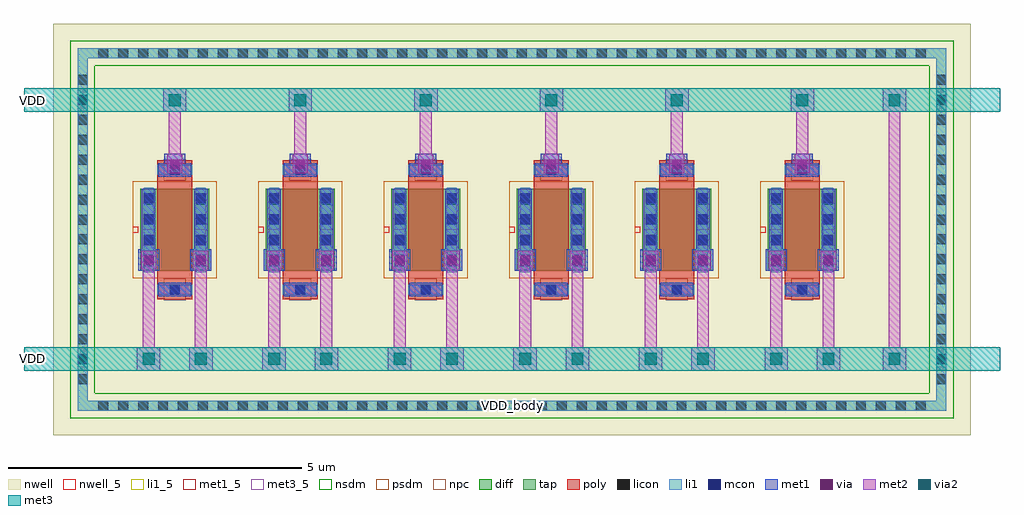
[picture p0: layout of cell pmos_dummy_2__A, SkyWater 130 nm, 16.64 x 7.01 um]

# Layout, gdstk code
import gdstk
lib = gdstk.Library(unit=1e-6, precision=1e-09)
def R(c, l, rs):  # rectangles x0, y0, x1, y1
    for r in rs: c.add(gdstk.rectangle(r[:2], r[2:], *l))
def A(c, l, x, y, w, h, nx, ny, dx, dy):  # array of equal rectangles
    R(c, l, [(x+i*dx, y+j*dy, x+i*dx+w, y+j*dy+h) for i in range(nx) for j in range(ny)])
nwell_5 = (64, 5)
nwell = (64, 20)
diff = (65, 20)
tap = (65, 44)
poly = (66, 20)
licon = (66, 44)
li1_5 = (67, 5)
li1 = (67, 20)
mcon = (67, 44)
met1_5 = (68, 5)
met1 = (68, 20)
via = (68, 44)
met2 = (69, 20)
via2 = (69, 44)
met3_5 = (70, 5)
met3 = (70, 20)
nsdm = (93, 44)
psdm = (94, 20)
npc = (95, 20)

sky130_fd_pr__pfet_01v8_ = lib.new_cell('sky130_fd_pr__pfet_01v8_RGDEC8')
R(sky130_fd_pr__pfet_01v8_, nwell, [(-0.77,-1.2,0.77,1.2)])
R(sky130_fd_pr__pfet_01v8_, diff, [(-0.59,-0.7,0.59,0.7)])
R(sky130_fd_pr__pfet_01v8_, poly, [(-0.3,-1.185,0.3,1.185)])
A(sky130_fd_pr__pfet_01v8_, licon, -0.53, -0.595, 0.17, 0.17, 1, 4, 0, 0.34)
A(sky130_fd_pr__pfet_01v8_, licon, 0.36, -0.595, 0.17, 0.17, 1, 4, 0, 0.34)
R(sky130_fd_pr__pfet_01v8_, licon, [(-0.085,-1.105,0.085,-0.935), (-0.085,0.935,0.085,1.105)])
R(sky130_fd_pr__pfet_01v8_, li1, [(-0.3,-1.105,0.3,-0.935), (-0.53,-0.72,-0.36,0.72), (0.36,-0.72,0.53,0.72), (-0.3,0.935,0.3,1.105)])
A(sky130_fd_pr__pfet_01v8_, mcon, -0.53, -0.625, 0.17, 0.17, 1, 4, 0, 0.36)
A(sky130_fd_pr__pfet_01v8_, mcon, 0.36, -0.625, 0.17, 0.17, 1, 4, 0, 0.36)
R(sky130_fd_pr__pfet_01v8_, mcon, [(-0.085,-1.105,0.085,-0.935), (-0.085,0.935,0.085,1.105)])
R(sky130_fd_pr__pfet_01v8_, met1, [(-0.28,-1.135,0.28,-0.905), (-0.56,-0.7,-0.33,0.7), (0.33,-0.7,0.56,0.7), (-0.28,0.905,0.28,1.135)])
R(sky130_fd_pr__pfet_01v8_, psdm, [(-0.715,-0.825,0.715,0.825)])
R(sky130_fd_pr__pfet_01v8_, npc, [(-0.185,-1.205,0.185,-0.835), (-0.185,0.835,0.185,1.205)])
sky130_fd_pr__pfet_01v8_.add(gdstk.Label('D', (-0.445,0), layer=67, texttype=5))
sky130_fd_pr__pfet_01v8_.add(gdstk.Label('S', (0.445,0), layer=67, texttype=5))
sky130_fd_pr__pfet_01v8_.add(gdstk.Label('G', (0,1.02), layer=67, texttype=5))

pfet_01v8_w1p4_l0p6_m6__ = lib.new_cell('pfet_01v8_W1p4_L0p6_m6__nf1_gboth_sdfull_ng')
R(pfet_01v8_w1p4_l0p6_m6__, nwell_5, [(0.05,1.15,0.15,1.25)])
R(pfet_01v8_w1p4_l0p6_m6__, nwell, [(0.05,1.15,0.15,1.25)])
R(pfet_01v8_w1p4_l0p6_m6__, met1_5, [(0.21,1.2,0.44,1.4), (1.1,1.2,1.33,1.4), (0.49,2.105,1.05,2.335)])
R(pfet_01v8_w1p4_l0p6_m6__, met1, [(0.21,1.2,0.44,1.4), (1.1,1.2,1.33,1.4), (0.49,2.105,1.05,2.335)])
pfet_01v8_w1p4_l0p6_m6__.add(gdstk.Reference(sky130_fd_pr__pfet_01v8_, (0.77,1.2)))
pfet_01v8_w1p4_l0p6_m6__.add(gdstk.Label('D', (0.325,1.3), layer=68, texttype=5))
pfet_01v8_w1p4_l0p6_m6__.add(gdstk.Label('S', (1.215,1.3), layer=68, texttype=5))
pfet_01v8_w1p4_l0p6_m6__.add(gdstk.Label('G', (0.77,2.22), layer=68, texttype=5))
pfet_01v8_w1p4_l0p6_m6__.add(gdstk.Label('B', (0.1,1.2), layer=64, texttype=5))

pmos_dummy_2__a = lib.new_cell('pmos_dummy_2__A')
R(pmos_dummy_2__a, nwell, [(-1.3,-2.3,14.34,4.71)])
R(pmos_dummy_2__a, tap, [(-0.885,-1.885,13.925,-1.715), (-0.885,-1.715,-0.715,4.125), (13.755,-1.715,13.925,4.125), (-0.885,4.125,13.925,4.295)])
A(pmos_dummy_2__a, licon, -0.535, -1.885, 0.17, 0.17, 42, 2, 0.34, 6.01)
A(pmos_dummy_2__a, licon, -0.885, -1.43, 0.17, 0.17, 1, 16, 0, 0.34)
A(pmos_dummy_2__a, licon, 13.755, -1.43, 0.17, 0.17, 1, 16, 0, 0.34)
R(pmos_dummy_2__a, li1_5, [(6.47,-1.85,6.57,-1.75)])
R(pmos_dummy_2__a, li1, [(-0.885,-1.885,13.925,-1.715), (-0.885,-1.715,-0.715,4.125), (13.755,-1.715,13.925,4.125), (-0.885,4.125,13.925,4.295)])
A(pmos_dummy_2__a, met1, 0.59, 2.14, 0.36, 0.36, 6, 1, 2.14, 0)
R(pmos_dummy_2__a, met1, [(0.145,0.505,0.505,0.865), (1.035,0.505,1.395,0.865), (2.285,0.505,2.645,0.865), (3.175,0.505,3.535,0.865), (4.425,0.505,4.785,0.865), (5.315,0.505,5.675,0.865), (6.565,0.505,6.925,0.865), (7.455,0.505,7.815,0.865), (8.705,0.505,9.065,0.865), (9.595,0.505,9.955,0.865), (10.845,0.505,11.205,0.865), (11.735,0.505,12.095,0.865)])
A(pmos_dummy_2__a, via, 0.695, 2.245, 0.15, 0.15, 6, 1, 2.14, 0)
R(pmos_dummy_2__a, via, [(0.25,0.61,0.4,0.76), (1.14,0.61,1.29,0.76), (2.39,0.61,2.54,0.76), (3.28,0.61,3.43,0.76), (4.53,0.61,4.68,0.76), (5.42,0.61,5.57,0.76), (6.67,0.61,6.82,0.76), (7.56,0.61,7.71,0.76), (8.81,0.61,8.96,0.76), (9.7,0.61,9.85,0.76), (10.95,0.61,11.1,0.76), (11.84,0.61,11.99,0.76)])
A(pmos_dummy_2__a, met2, 0.64, 2.16, 0.26, 0.32, 6, 1, 2.14, 0)
A(pmos_dummy_2__a, met2, 0.67, 2.48, 0.2, 0.73, 6, 1, 2.14, 0)
A(pmos_dummy_2__a, met2, 0.57, 3.21, 0.4, 0.4, 6, 1, 2.14, 0)
R(pmos_dummy_2__a, met2, [(0.125,-1.2,0.525,-0.8), (1.015,-1.2,1.415,-0.8), (2.265,-1.2,2.665,-0.8), (3.155,-1.2,3.555,-0.8), (4.405,-1.2,4.805,-0.8), (5.295,-1.2,5.695,-0.8), (6.545,-1.2,6.945,-0.8), (7.435,-1.2,7.835,-0.8), (8.685,-1.2,9.085,-0.8), (9.575,-1.2,9.975,-0.8), (10.825,-1.2,11.225,-0.8), (11.715,-1.2,12.115,-0.8), (12.84,-1.2,13.24,-0.8), (0.225,-0.8,0.425,0.525), (1.115,-0.8,1.315,0.525), (2.365,-0.8,2.565,0.525), (3.255,-0.8,3.455,0.525), (4.505,-0.8,4.705,0.525), (5.395,-0.8,5.595,0.525), (6.645,-0.8,6.845,0.525), (7.535,-0.8,7.735,0.525), (8.785,-0.8,8.985,0.525), (9.675,-0.8,9.875,0.525), (10.925,-0.8,11.125,0.525), (11.815,-0.8,12.015,0.525), (12.94,-0.8,13.14,3.21), (0.195,0.525,0.455,0.845), (1.085,0.525,1.345,0.845), (2.335,0.525,2.595,0.845), (3.225,0.525,3.485,0.845), (4.475,0.525,4.735,0.845), (5.365,0.525,5.625,0.845), (6.615,0.525,6.875,0.845), (7.505,0.525,7.765,0.845), (8.755,0.525,9.015,0.845), (9.645,0.525,9.905,0.845), (10.895,0.525,11.155,0.845), (11.785,0.525,12.045,0.845), (12.84,3.21,13.24,3.61)])
A(pmos_dummy_2__a, via2, 0.67, 3.31, 0.2, 0.2, 6, 1, 2.14, 0)
R(pmos_dummy_2__a, via2, [(0.225,-1.1,0.425,-0.9), (1.115,-1.1,1.315,-0.9), (2.365,-1.1,2.565,-0.9), (3.255,-1.1,3.455,-0.9), (4.505,-1.1,4.705,-0.9), (5.395,-1.1,5.595,-0.9), (6.645,-1.1,6.845,-0.9), (7.535,-1.1,7.735,-0.9), (8.785,-1.1,8.985,-0.9), (9.675,-1.1,9.875,-0.9), (10.925,-1.1,11.125,-0.9), (11.815,-1.1,12.015,-0.9), (12.94,-1.1,13.14,-0.9), (12.94,3.31,13.14,3.51)])
R(pmos_dummy_2__a, met3_5, [(-1.7,-1.05,-1.6,-0.95), (-1.7,3.36,-1.6,3.46)])
R(pmos_dummy_2__a, met3, [(-1.8,-1.2,14.84,-0.8), (-1.8,3.21,14.84,3.61)])
R(pmos_dummy_2__a, nsdm, [(-1.01,-2.01,14.05,-1.59), (-1.01,-1.59,-0.59,4), (13.63,-1.59,14.05,4), (-1.01,4,14.05,4.42)])
pmos_dummy_2__a.add(gdstk.Reference(pfet_01v8_w1p4_l0p6_m6__, (10.7,0)))
pmos_dummy_2__a.add(gdstk.Reference(pfet_01v8_w1p4_l0p6_m6__, (8.56,0)))
pmos_dummy_2__a.add(gdstk.Reference(pfet_01v8_w1p4_l0p6_m6__, (6.42,0)))
pmos_dummy_2__a.add(gdstk.Reference(pfet_01v8_w1p4_l0p6_m6__, (4.28,0)))
pmos_dummy_2__a.add(gdstk.Reference(pfet_01v8_w1p4_l0p6_m6__, (2.14,0)))
pmos_dummy_2__a.add(gdstk.Reference(pfet_01v8_w1p4_l0p6_m6__, (0,0)))
pmos_dummy_2__a.add(gdstk.Label('VDD', (-1.65,3.41), layer=70, texttype=5))
pmos_dummy_2__a.add(gdstk.Label('VDD', (-1.65,-1), layer=70, texttype=5))
pmos_dummy_2__a.add(gdstk.Label('VDD_body', (6.52,-1.8), layer=67, texttype=5))

lib.write_gds('pmos_dummy_2__A.gds')
